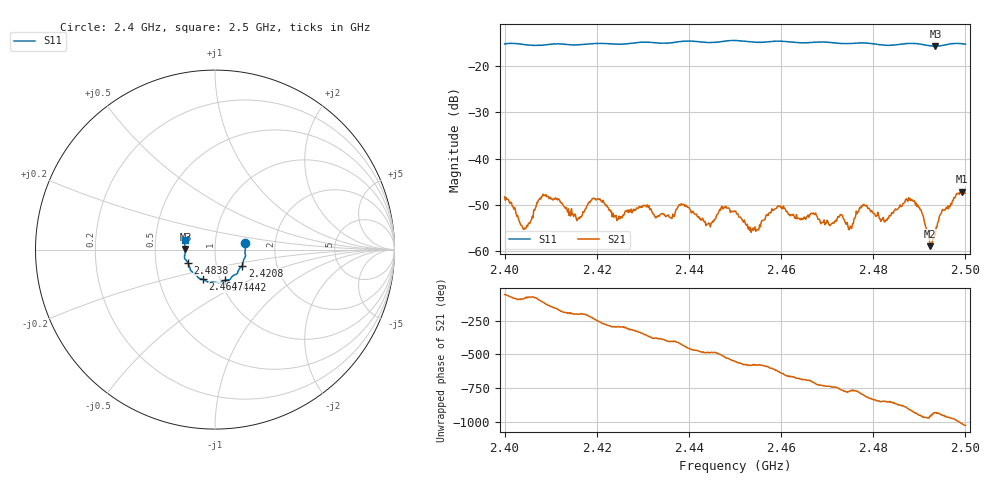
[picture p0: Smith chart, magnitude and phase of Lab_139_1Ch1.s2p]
# Hz S RI R 50
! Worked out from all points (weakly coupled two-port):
!   601 points, 2.4 GHz to 2.5 GHz, reference 50 ohm
!   highest |S21| = -47.17 dB at 2.4992 GHz (marker M1); lowest = -59.0 dB at 2.4923 GHz (marker M2)
!   lowest |S11| = -15.7 dB at 2.4935 GHz (marker M3), VSWR 1.39, Z = 35.9 + j0.158 ohm
!   |S11| at or under -10 dB: start of sweep to end of sweep
!   S12 and S22 are empty: the file has one direction only
!   S11 on the Smith chart (normalised r, x): 2.4 GHz: 1.40, +0.11; 2.4208 GHz: 1.33, -0.25; 2.4442 GHz: 1.05, -0.37; 2.4647 GHz: 0.83, -0.28; 2.4838 GHz: 0.73, -0.11; 2.5 GHz: 0.71, +0.08
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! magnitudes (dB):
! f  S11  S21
! 2.4 GHz  -15.2  -48.3
! 2.4042 GHz  -15.3  -55.3
! 2.4085 GHz  -15.4  -47.9
! 2.4167 GHz  -15.3  -52.5
! 2.4208 GHz  -15.1  -49.1
! 2.4242 GHz  -15.2  -52.3
! 2.4333 GHz  -15.0  -52.3
! 2.4388 GHz  -14.6  -49.9
! 2.4442 GHz  -14.9  -54.1
! 2.45 GHz  -14.4  -51.3
! 2.4537 GHz  -14.8  -55.4
! 2.4593 GHz  -14.6  -50.3
! 2.4647 GHz  -15.0  -53.1
! 2.4667 GHz  -14.9  -51.9
! 2.475 GHz  -15.1  -54.6
! 2.4833 GHz  -15.5  -52.9
! 2.4838 GHz  -15.5  -52.4
! 2.4885 GHz  -15.1  -49.0
! 2.4923 GHz  -15.6  -59.0
! 2.4935 GHz  -15.7  -56.6
! 2.4992 GHz  -15.1  -47.2
! 2.5 GHz  -15.2  -47.5
